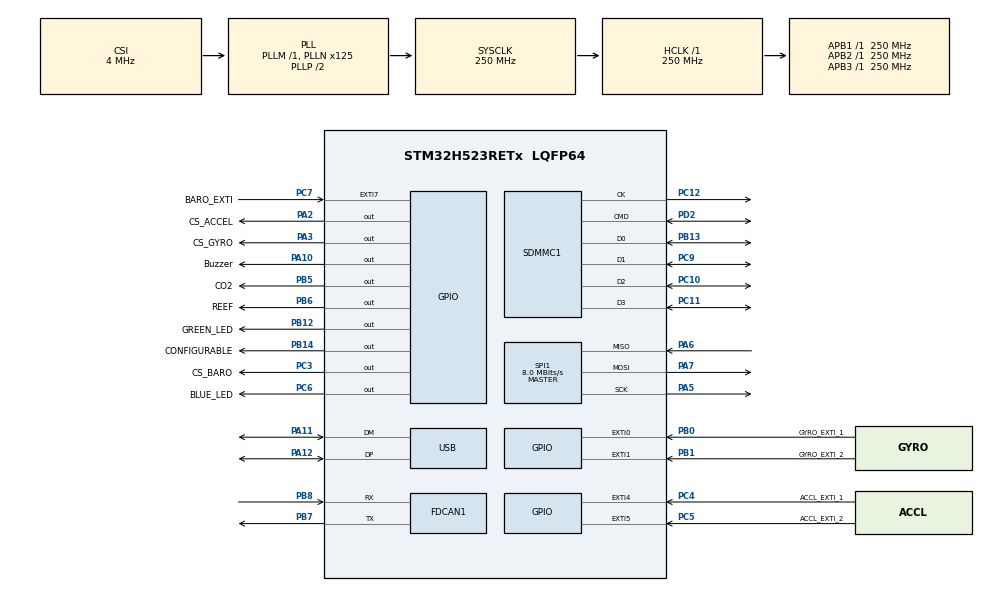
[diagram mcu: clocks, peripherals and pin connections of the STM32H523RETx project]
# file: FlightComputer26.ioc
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BOOTPATH.BootPathName=LEGACY
BOOTPATH.UserSelectedBootPath=LEGACY
CORTEX_M33_NS.AccessPermission-Cortex_Memory_Protection_Unit_Region1_Settings=MPU_REGION_ALL_RW
CORTEX_M33_NS.Attributes1=MPU_ATTRIBUTES_NUMBER1
CORTEX_M33_NS.AttributesIndex-Cortex_Memory_Protection_Unit_Region1_Settings=MPU_ATTRIBUTES_NUMBER1
CORTEX_M33_NS.BaseAddress-Cortex_Memory_Protection_Unit_Region1_Settings=0x20033000
CORTEX_M33_NS.DisableExec-Cortex_Memory_Protection_Unit_Region1_Settings=MPU_INSTRUCTION_ACCESS_DISABLE
CORTEX_M33_NS.Enable-Cortex_Memory_Protection_Unit_Region1_Settings=MPU_REGION_ENABLE
CORTEX_M33_NS.LimitAddress-Cortex_Memory_Protection_Unit_Region1_Settings=0x20044000
CORTEX_M33_NS.Number-Cortex_Memory_Protection_Unit_Region0_OTP_RO_AREAS_Settings=MPU_REGION_NUMBER0
CORTEX_M33_NS.default_mode_Activation=1
CORTEX_M33_NS.userName=CORTEX_M33
DCACHE1.DCACHE_Read_Burst_Type=DCACHE_READ_BURST_INCR
FDCAN1.AutoRetransmission=ENABLE
FDCAN1.CalculateBaudRateNominal=999999
FDCAN1.CalculateTimeBitNominal=1000
FDCAN1.CalculateTimeQuantumNominal=58.82352941176471
FDCAN1.DataPrescaler=2
FDCAN1.DataTimeSeg1=5
FDCAN1.DataTimeSeg2=2
FDCAN1.ExtFiltersNbr=0
FDCAN1.FrameFormat=FDCAN_FRAME_FD_NO_BRS
FDCAN1.NominalPrescaler=10
FDCAN1.NominalTimeSeg1=13
FDCAN1.NominalTimeSeg2=3
FDCAN1.ProtocolException=DISABLE
FDCAN1.StdFiltersNbr=0
HASH.DataType=HASH_BYTE_SWAP
FILEX.FILEX_APPLICATION_THREAD_PRIORITY=5
FILEX.FILEX_APPLICATION_THREAD_STACK_SIZE=8184
FILEX.FORMAT_SD_MEDIA=0
FILEX.FX_APP_MEM_POOL_SIZE=8200
FILEX.FX_DRIVER_SDMMC_INIT=0
FILEX.FX_ENABLE_FAULT_TOLERANT=1
FILEX.FX_SD_INTERFACE=1
FILEX.GENERATE_FILEX_INIT_CODE=true
FILEX.useRTOS=1
GPDMA1.DESTINC_GPDMACH0=DMA_DINC_INCREMENTED
GPDMA1.DIRECTION_GPDMACH1=DMA_MEMORY_TO_PERIPH
GPDMA1.IPHANDLE_GPDMACH0-SIMPLEREQUEST_GPDMACH0=__NULL
GPDMA1.IPHANDLE_GPDMACH1-SIMPLEREQUEST_GPDMACH1=__NULL
GPDMA1.PRIORITY_GPDMACH0=DMA_LOW_PRIORITY_MID_WEIGHT
GPDMA1.PRIORITY_GPDMACH1=DMA_LOW_PRIORITY_MID_WEIGHT
GPDMA1.REQUEST_GPDMACH0=GPDMA1_REQUEST_SPI1_RX
GPDMA1.REQUEST_GPDMACH1=GPDMA1_REQUEST_SPI1_TX
GPDMA1.SRCINC_GPDMACH1=DMA_SINC_INCREMENTED
GPDMA1.TRANSFERALLOCATEDPORTDEST_GPDMACH0=DMA_DEST_ALLOCATED_PORT1
GPDMA1.TRANSFERALLOCATEDPORTSRC_GPDMACH1=DMA_SRC_ALLOCATED_PORT1
Mcu.Family=STM32H5
Mcu.Name=STM32H523RETx
Mcu.Package=LQFP64
NVIC.EXTI0_IRQn=true\:0\:0\:false\:false\:true\:false\:true\:true\:true
NVIC.EXTI4_IRQn=true\:0\:0\:false\:false\:true\:false\:true\:true\:true
NVIC.EXTI7_IRQn=true\:0\:0\:false\:false\:true\:false\:true\:true\:true
NVIC.FDCAN1_IT0_IRQn=true\:0\:0\:true\:false\:true\:false\:true\:true\:true
NVIC.FDCAN1_IT1_IRQn=true\:0\:0\:true\:false\:true\:false\:true\:true\:true
NVIC.GPDMA1_Channel0_IRQn=true\:0\:0\:false\:false\:true\:false\:false\:true\:true
NVIC.GPDMA1_Channel1_IRQn=true\:0\:0\:false\:false\:true\:true\:false\:true\:true
NVIC.PriorityGroup=NVIC_PRIORITYGROUP_4
NVIC.SDMMC1_IRQn=true\:0\:0\:false\:false\:true\:false\:true\:true\:true
NVIC.SPI1_IRQn=true\:0\:0\:false\:false\:true\:false\:true\:true\:true
NVIC.TIM6_IRQn=true\:15\:0\:false\:false\:true\:false\:false\:true\:true
NVIC.TimeBase=TIM6_IRQn
NVIC.TimeBaseIP=TIM6
NVIC.USB_DRD_FS_IRQn=true\:5\:0\:true\:false\:true\:false\:true\:true\:true
PA10.GPIO_Label=Buzzer
PA10.Signal=GPIO_Output
PA11.Mode=Device
PA11.Signal=USB_DM
PA12.Mode=Device
PA12.Signal=USB_DP
PA13(JTMS/SWDIO).Mode=Serial_Wire
PA13(JTMS/SWDIO).Signal=DEBUG_JTMS-SWDIO
PA14(JTCK/SWCLK).Mode=Serial_Wire
PA14(JTCK/SWCLK).Signal=DEBUG_JTCK-SWCLK
PA2.GPIO_Label=CS_ACCEL
PA2.PinState=GPIO_PIN_SET
PA2.Signal=GPIO_Output
PA3.GPIO_Label=CS_GYRO
PA3.PinState=GPIO_PIN_SET
PA3.Signal=GPIO_Output
PA5.Mode=Full_Duplex_Master
PA5.Signal=SPI1_SCK
PA6.Mode=Full_Duplex_Master
PA6.Signal=SPI1_MISO
PA7.Mode=Full_Duplex_Master
PA7.Signal=SPI1_MOSI
PB0.GPIO_Label=GYRO_EXTI_1
PB0.Signal=GPXTI0
PB1.GPIO_Label=GYRO_EXTI_2
PB1.Signal=GPXTI1
PB12.GPIO_Label=GREEN_LED
PB12.Signal=GPIO_Output
PB13.Mode=SD_4_bits_Wide_bus
PB13.Signal=SDMMC1_D0
PB14.GPIO_Label=CONFIGURABLE
PB14.Signal=GPIO_Output
PB5.GPIO_Label=CO2
PB5.Signal=GPIO_Output
PB6.GPIO_Label=REEF
PB6.Signal=GPIO_Output
PB7.Mode=FDCAN_Activate
PB7.Signal=FDCAN1_TX
PB8.Mode=FDCAN_Activate
PB8.Signal=FDCAN1_RX
PC10.Mode=SD_4_bits_Wide_bus
PC10.Signal=SDMMC1_D2
PC11.Mode=SD_4_bits_Wide_bus
PC11.Signal=SDMMC1_D3
PC12.Mode=SD_4_bits_Wide_bus
PC12.Signal=SDMMC1_CK
PC14-OSC32_IN(OSC32_IN).Mode=LSE-External-Oscillator
PC14-OSC32_IN(OSC32_IN).Signal=RCC_OSC32_IN
PC15-OSC32_OUT(OSC32_OUT).Mode=LSE-External-Oscillator
PC15-OSC32_OUT(OSC32_OUT).Signal=RCC_OSC32_OUT
PC3.GPIO_Label=CS_BARO
PC3.PinState=GPIO_PIN_SET
PC3.Signal=GPIO_Output
PC4.GPIO_Label=ACCL_EXTI_1
PC4.Signal=GPXTI4
PC5.GPIO_Label=ACCL_EXTI_2
PC5.Signal=GPXTI5
PC6.GPIO_Label=BLUE_LED
PC6.Signal=GPIO_Output
PC7.GPIO_Label=BARO_EXTI
PC7.Signal=GPXTI7
PC9.Mode=SD_4_bits_Wide_bus
PC9.Signal=SDMMC1_D1
PD2.Mode=SD_4_bits_Wide_bus
PD2.Signal=SDMMC1_CMD
PH0-OSC_IN(PH0).Mode=HSE-External-Oscillator
PH0-OSC_IN(PH0).Signal=RCC_OSC_IN
PH1-OSC_OUT(PH1).Mode=HSE-External-Oscillator
PH1-OSC_OUT(PH1).Signal=RCC_OSC_OUT
ProjectManager.HeapSize=0x200
ProjectManager.StackSize=0x400
ProjectManager.TargetToolchain=CMake
RCC.ADCFreq_Value=250000000
RCC.AHBFreq_Value=250000000
RCC.APB1Freq_Value=250000000
RCC.APB1TimFreq_Value=250000000
RCC.APB2Freq_Value=250000000
RCC.APB2TimFreq_Value=250000000
RCC.APB3Freq_Value=250000000
RCC.CSI_VALUE=4000000
RCC.CortexFreq_Value=250000000
RCC.EPOD_VALUE=4000000
RCC.FDCANClockSelection=RCC_FDCANCLKSOURCE_PLL2Q
RCC.HCLKFreq_Value=250000000
RCC.HSE_VALUE=8000000
RCC.HSI48_VALUE=48000000
RCC.HSI_VALUE=64000000
RCC.LSIRC_VALUE=32000
RCC.PLL1Q=20
RCC.PLL2FRACN=0
RCC.PLL2N=85
RCC.PLL3FRACN=0
RCC.PLLFRACN=0
RCC.PLLN=125
RCC.SPI1CLockSelection=RCC_SPI1CLKSOURCE_CLKP
RCC.SYSCLKFreq_VALUE=250000000
RCC.SYSCLKSource=RCC_SYSCLKSOURCE_PLLCLK
RCC.USBFreq_Value=48000000
RCC.VCOOutputFreq_Value=500000000
SDMMC1.HardwareFlowControl=SDMMC_HARDWARE_FLOW_CONTROL_ENABLE
SDMMC1.TransceiverPresent=SDMMC_TRANSCEIVER_NOT_PRESENT
SPI1.BaudRatePrescaler=SPI_BAUDRATEPRESCALER_4
SPI1.CalculateBaudRate=8.0 MBits/s
SPI1.DataSize=SPI_DATASIZE_8BIT
SPI1.Direction=SPI_DIRECTION_2LINES
SPI1.Mode=SPI_MODE_MASTER
SPI1.VirtualType=VM_MASTER
THREADX.AZRTOS_APP_MEM_ALLOCATION_METHOD=1
THREADX.THREADX_MEM_POOL_VAR_NAME=tx_task_stacks
THREADX.TX_APP_GENERATE_INIT_CODE=true
THREADX.TX_APP_MEM_POOL_SIZE=94208
THREADX.TX_DISABLE_NOTIFY_CALLBACKS=0
THREADX.TX_TIMER_TICKS_PER_SECOND=1000
USB.VirtualMode=Device_Only
VP_BOOTPATH_VS_BOOTPATH.Mode=BP_Activate
VP_CORTEX_M33_NS_VS_Hclk.Mode=Hclk_Mode
VP_DCACHE1_VS_DCACHE.Mode=DCACHE_Activate
VP_FILEX_VS_FileOoSystemJjFileXJjCore.Mode=FileX_Core
VP_FILEX_VS_SDOointerface.Mode=SD_interface
VP_GPDMA1_VS_GPDMACH0.Mode=SIMPLEREQUEST_GPDMACH0
VP_GPDMA1_VS_GPDMACH1.Mode=SIMPLEREQUEST_GPDMACH1
VP_ICACHE_VS_ICACHE.Mode=DefaultMode
VP_MEMORYMAP_VS_MEMORYMAP.Mode=CurAppReg
VP_PWR_VS_LPOM.Mode=PowerOptimisation
VP_PWR_VS_SECSignals.Mode=Security/Privilege
VP_SYS_VS_tim6.Mode=TIM6
VP_THREADX_VS_RTOSJjThreadXJjCoreJjDefault.Mode=Core_Default
board=custom

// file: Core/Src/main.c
#include "fc_recovery_owner.h"
#include "board_commissioning.h"
#include "board_recovery_floor.h"
/* USER CODE BEGIN Header */
/**
 ******************************************************************************
 * @file           : main.c
 * @brief          : Main program body
 ******************************************************************************
 * @attention
 *
 * Copyright (c) 2025 STMicroelectronics.
 * All rights reserved.
 *
 * This software is licensed under terms that can be found in the LICENSE file
 * in the root directory of this software component.
 * If no LICENSE file comes with this software, it is provided AS-IS.
 *
 ******************************************************************************
 */
/* USER CODE END Header */
#include "app_threadx.h"
#include "main.h"
#include "persistent_store.h"
#include "board_watchdog.h"
#include "fc_watchdog_recovery.h"

/* USER CODE BEGIN Includes */
#ifdef TELEMETRY_ENABLED
#include "board_crc32.h"
#endif
#include "platform.h"
#ifdef TELEMETRY_ENABLED
#include "av_bay_underglow.h"
#include "flight_buzzer.h"
#endif
#include "flight_state_cache.h"
#include "board_recovery_boot.h"
#include "resilient_storage.h"
#define HAL_SD_Init flight_sd_init
#include "fcapi.h"

#ifdef TEST_SENSORS
  #include "testing.h"
#endif

/* USER CODE END Includes */

/* USER CODE BEGIN PD */
void cdc_printf_init(void);
/* USER CODE END PD */

DCACHE_HandleTypeDef hdcache1;

FDCAN_HandleTypeDef hfdcan1;

SD_HandleTypeDef hsd1;

SPI_HandleTypeDef hspi1;
DMA_HandleTypeDef handle_GPDMA1_Channel1;
DMA_HandleTypeDef handle_GPDMA1_Channel0;

PCD_HandleTypeDef hpcd_USB_DRD_FS;

void SystemClock_Config(void);
void PeriphCommonClock_Config(void);
static void MPU_Config(void);
static void MX_GPIO_Init(void);
static void MX_GPDMA1_Init(void);
static void MX_SPI1_Init(void);
static void MX_FDCAN1_Init(void);
static void MX_SDMMC1_SD_Init(void);
static void MX_USB_PCD_Init(void);
static void MX_ICACHE_Init(void);
static void MX_DCACHE1_Init(void);

int main(void)
{

  /* MCU Configuration--------------------------------------------------------*/

  /* MPU Configuration--------------------------------------------------------*/
  MPU_Config();

  /* Reset of all peripherals, Initializes the Flash interface and the Systick. */
  HAL_Init();

  /* Configure the system clock */
  SystemClock_Config();

  /* Configure the peripherals common clocks */
  PeriphCommonClock_Config();

  /* USER CODE BEGIN SysInit */
#ifdef TELEMETRY_ENABLED
  /* Before any SEDSnet router exists: frame CRCs on the CRC unit once it
   * passes its self-test, otherwise SEDSnet keeps its software CRC. */
  (void)board_crc32_install();
#endif
  /* USER CODE END SysInit */

  /* Initialize all configured peripherals */
  MX_GPIO_Init();
  MX_GPDMA1_Init();
  MX_SPI1_Init();
  MX_FDCAN1_Init();
  MX_SDMMC1_SD_Init();
  MX_USB_PCD_Init();
  MX_ICACHE_Init();
  MX_DCACHE1_Init();
  /* USER CODE BEGIN 2 */

  /* Solid blue means peripheral initialization completed and ThreadX is
   * starting. The telemetry task clears it once CAN and SEDSNet are ready. */
  led_off(LED1_PORT, LED1_PIN);
  led_on(LED2_PORT, LED2_PIN);
  /* Replace the temporary startup indication with the persisted LaunchCore
   * state before ThreadX and network-variable synchronization begin. */
  (void)persistent_store_boot_begin();
  /* Establish recovery identity before cached state restore and control tasks. */
  (void)board_recovery_boot_generation();
  (void)board_recovery_floor_prime_boot(); /* Cached failure stays queryable/inhibited. */
  board_commissioning_probe_boot();
  if(board_commissioning_pending())fc_recovery_restore_commissioning_hold();
#ifdef TELEMETRY_ENABLED
  av_bay_underglow_restore();
  flight_buzzer_restore();
#endif
  flight_state_cache_restore();

  co2_low();
  reef_low();

#ifdef TEST_SENSORS
  test_sensors_sync();
#endif

  // Buzzer - uncomment if needed

  // HAL_GPIO_WritePin(GPIOA, GPIO_PIN_10, GPIO_PIN_SET);
  // HAL_Delay(1000);
  // HAL_GPIO_WritePin(GPIOA, GPIO_PIN_10, GPIO_PIN_RESET);

  /* USER CODE END 2 */

  board_watchdog_start();
  fc_watchdog_recovery_boot(g_watchdog_reset_flags);
  MX_ThreadX_Init();

  /* We should never get here as control is now taken by the scheduler */

  /* Infinite loop */
  while (1) {

  }
}

void SystemClock_Config(void)
{
  RCC_OscInitTypeDef RCC_OscInitStruct = {0};
  RCC_ClkInitTypeDef RCC_ClkInitStruct = {0};

  /** Configure the main internal regulator output voltage
  */
  __HAL_PWR_VOLTAGESCALING_CONFIG(PWR_REGULATOR_VOLTAGE_SCALE0);

  while(!__HAL_PWR_GET_FLAG(PWR_FLAG_VOSRDY)) {}

  /** Initializes the RCC Oscillators according to the specified parameters
  * in the RCC_OscInitTypeDef structure.
  */
  RCC_OscInitStruct.OscillatorType = RCC_OSCILLATORTYPE_HSI48|RCC_OSCILLATORTYPE_HSI
                              |RCC_OSCILLATORTYPE_CSI;
  RCC_OscInitStruct.HSIState = RCC_HSI_ON;
  RCC_OscInitStruct.HSIDiv = RCC_HSI_DIV2;
  RCC_OscInitStruct.HSICalibrationValue = RCC_HSICALIBRATION_DEFAULT;
  RCC_OscInitStruct.HSI48State = RCC_HSI48_ON;
  RCC_OscInitStruct.CSIState = RCC_CSI_ON;
  RCC_OscInitStruct.CSICalibrationValue = RCC_CSICALIBRATION_DEFAULT;
  RCC_OscInitStruct.PLL.PLLState = RCC_PLL_ON;
  RCC_OscInitStruct.PLL.PLLSource = RCC_PLL1_SOURCE_CSI;
  RCC_OscInitStruct.PLL.PLLM = 1;
  RCC_OscInitStruct.PLL.PLLN = 125;
  RCC_OscInitStruct.PLL.PLLP = 2;
  RCC_OscInitStruct.PLL.PLLQ = 20;
  RCC_OscInitStruct.PLL.PLLR = 2;
  RCC_OscInitStruct.PLL.PLLRGE = RCC_PLL1_VCIRANGE_2;
  RCC_OscInitStruct.PLL.PLLVCOSEL = RCC_PLL1_VCORANGE_WIDE;
  RCC_OscInitStruct.PLL.PLLFRACN = 0;
  if (HAL_RCC_OscConfig(&RCC_OscInitStruct) != HAL_OK)
  {
    Error_Handler();
  }

  /** Initializes the CPU, AHB and APB buses clocks
  */
  RCC_ClkInitStruct.ClockType = RCC_CLOCKTYPE_HCLK|RCC_CLOCKTYPE_SYSCLK
                              |RCC_CLOCKTYPE_PCLK1|RCC_CLOCKTYPE_PCLK2
                              |RCC_CLOCKTYPE_PCLK3;
  RCC_ClkInitStruct.SYSCLKSource = RCC_SYSCLKSOURCE_PLLCLK;
  RCC_ClkInitStruct.AHBCLKDivider = RCC_SYSCLK_DIV1;
  RCC_ClkInitStruct.APB1CLKDivider = RCC_HCLK_DIV1;
  RCC_ClkInitStruct.APB2CLKDivider = RCC_HCLK_DIV1;
  RCC_ClkInitStruct.APB3CLKDivider = RCC_HCLK_DIV1;

  if (HAL_RCC_ClockConfig(&RCC_ClkInitStruct, FLASH_LATENCY_5) != HAL_OK)
  {
    Error_Handler();
  }

  /** Configure the programming delay
  */
  __HAL_FLASH_SET_PROGRAM_DELAY(FLASH_PROGRAMMING_DELAY_2);
}

void PeriphCommonClock_Config(void)
{
  RCC_PeriphCLKInitTypeDef PeriphClkInitStruct = {0};

  /** Initializes the peripherals clock
  */
  PeriphClkInitStruct.PeriphClockSelection = RCC_PERIPHCLK_CKPER;
  PeriphClkInitStruct.CkperClockSelection = RCC_CLKPSOURCE_HSI;
  if (HAL_RCCEx_PeriphCLKConfig(&PeriphClkInitStruct) != HAL_OK)
  {
    Error_Handler();
  }
}

static void MX_DCACHE1_Init(void)
{

  hdcache1.Instance = DCACHE1;
  hdcache1.Init.ReadBurstType = DCACHE_READ_BURST_INCR;
  if (HAL_DCACHE_Init(&hdcache1) != HAL_OK)
  {
    Error_Handler();
  }

}

static void MX_FDCAN1_Init(void)
{

  hfdcan1.Instance = FDCAN1;
  hfdcan1.Init.ClockDivider = FDCAN_CLOCK_DIV1;
  hfdcan1.Init.FrameFormat = FDCAN_FRAME_FD_NO_BRS;
  hfdcan1.Init.Mode = FDCAN_MODE_NORMAL;
  /* FDCAN retries physical arbitration/ACK failures; SEDSNet supplies
   * end-to-end reliability without blocking this non-blocking TX path. */
  hfdcan1.Init.AutoRetransmission = ENABLE;
  hfdcan1.Init.TransmitPause = DISABLE;
  hfdcan1.Init.ProtocolException = DISABLE;
  hfdcan1.Init.NominalPrescaler = 10;
  hfdcan1.Init.NominalSyncJumpWidth = 1;
  hfdcan1.Init.NominalTimeSeg1 = 13;
  hfdcan1.Init.NominalTimeSeg2 = 3;
  hfdcan1.Init.DataPrescaler = 2;
  hfdcan1.Init.DataSyncJumpWidth = 1;
  hfdcan1.Init.DataTimeSeg1 = 5;
  hfdcan1.Init.DataTimeSeg2 = 2;
  hfdcan1.Init.StdFiltersNbr = 0;
  hfdcan1.Init.ExtFiltersNbr = 0;
  hfdcan1.Init.TxFifoQueueMode = FDCAN_TX_FIFO_OPERATION;
  if (HAL_FDCAN_Init(&hfdcan1) != HAL_OK)
  {
    Error_Handler();
  }

}

static void MX_GPDMA1_Init(void)
{

  /* Peripheral clock enable */
  __HAL_RCC_GPDMA1_CLK_ENABLE();

  /* GPDMA1 interrupt Init */
    HAL_NVIC_SetPriority(GPDMA1_Channel0_IRQn, 0, 0);
    HAL_NVIC_EnableIRQ(GPDMA1_Channel0_IRQn);
    HAL_NVIC_SetPriority(GPDMA1_Channel1_IRQn, 0, 0);
    HAL_NVIC_EnableIRQ(GPDMA1_Channel1_IRQn);

}

static void MX_ICACHE_Init(void)
{

  /** Enable instruction cache (default 2-ways set associative cache)
  */
  if (HAL_ICACHE_Enable() != HAL_OK)
  {
    Error_Handler();
  }

}

static void MX_SDMMC1_SD_Init(void)
{

  hsd1.Instance = SDMMC1;
  hsd1.Init.ClockEdge = SDMMC_CLOCK_EDGE_RISING;
  hsd1.Init.ClockPowerSave = SDMMC_CLOCK_POWER_SAVE_DISABLE;
  hsd1.Init.BusWide = SDMMC_BUS_WIDE_4B;
  hsd1.Init.HardwareFlowControl = SDMMC_HARDWARE_FLOW_CONTROL_ENABLE;
  hsd1.Init.ClockDiv = 0;
  if (HAL_SD_Init(&hsd1) != HAL_OK)
  {
    Error_Handler();
  }

}

static void MX_SPI1_Init(void)
{

  /* SPI1 parameter configuration*/
  hspi1.Instance = SPI1;
  hspi1.Init.Mode = SPI_MODE_MASTER;
  hspi1.Init.Direction = SPI_DIRECTION_2LINES;
  hspi1.Init.DataSize = SPI_DATASIZE_8BIT;
  hspi1.Init.CLKPolarity = SPI_POLARITY_LOW;
  hspi1.Init.CLKPhase = SPI_PHASE_1EDGE;
  hspi1.Init.NSS = SPI_NSS_SOFT;
  hspi1.Init.BaudRatePrescaler = SPI_BAUDRATEPRESCALER_4;
  hspi1.Init.FirstBit = SPI_FIRSTBIT_MSB;
  hspi1.Init.TIMode = SPI_TIMODE_DISABLE;
  hspi1.Init.CRCCalculation = SPI_CRCCALCULATION_DISABLE;
  hspi1.Init.CRCPolynomial = 0x7;
  hspi1.Init.NSSPMode = SPI_NSS_PULSE_ENABLE;
  hspi1.Init.NSSPolarity = SPI_NSS_POLARITY_LOW;
  hspi1.Init.FifoThreshold = SPI_FIFO_THRESHOLD_01DATA;
  hspi1.Init.MasterSSIdleness = SPI_MASTER_SS_IDLENESS_00CYCLE;
  hspi1.Init.MasterInterDataIdleness = SPI_MASTER_INTERDATA_IDLENESS_00CYCLE;
  hspi1.Init.MasterReceiverAutoSusp = SPI_MASTER_RX_AUTOSUSP_DISABLE;
  hspi1.Init.MasterKeepIOState = SPI_MASTER_KEEP_IO_STATE_DISABLE;
  hspi1.Init.IOSwap = SPI_IO_SWAP_DISABLE;
  hspi1.Init.ReadyMasterManagement = SPI_RDY_MASTER_MANAGEMENT_INTERNALLY;
  hspi1.Init.ReadyPolarity = SPI_RDY_POLARITY_HIGH;
  if (HAL_SPI_Init(&hspi1) != HAL_OK)
  {
    Error_Handler();
  }

}

static void MX_USB_PCD_Init(void)
{

  /* USER CODE BEGIN USB_Init 0 */

  /* USB is a bench-only transport. CubeMX preserves this user block, so a
   * production build retains the pin configuration while discarding the PCD
   * driver and its RAM/flash cost. */
#ifndef USB_ENUMERATES
  return;
#endif

  /* USER CODE END USB_Init 0 */

  hpcd_USB_DRD_FS.Instance = USB_DRD_FS;
  hpcd_USB_DRD_FS.Init.dev_endpoints = 8;
  hpcd_USB_DRD_FS.Init.speed = USBD_FS_SPEED;
  hpcd_USB_DRD_FS.Init.phy_itface = PCD_PHY_EMBEDDED;
  hpcd_USB_DRD_FS.Init.Sof_enable = DISABLE;
  hpcd_USB_DRD_FS.Init.low_power_enable = DISABLE;
  hpcd_USB_DRD_FS.Init.lpm_enable = DISABLE;
  hpcd_USB_DRD_FS.Init.battery_charging_enable = DISABLE;
  hpcd_USB_DRD_FS.Init.vbus_sensing_enable = DISABLE;
  hpcd_USB_DRD_FS.Init.bulk_doublebuffer_enable = DISABLE;
  hpcd_USB_DRD_FS.Init.iso_singlebuffer_enable = DISABLE;
  if (HAL_PCD_Init(&hpcd_USB_DRD_FS) != HAL_OK)
  {
    Error_Handler();
  }

}

static void MX_GPIO_Init(void)
{
  GPIO_InitTypeDef GPIO_InitStruct = {0};

  /* GPIO Ports Clock Enable */
  __HAL_RCC_GPIOC_CLK_ENABLE();
  __HAL_RCC_GPIOH_CLK_ENABLE();
  __HAL_RCC_GPIOA_CLK_ENABLE();
  __HAL_RCC_GPIOB_CLK_ENABLE();
  __HAL_RCC_GPIOD_CLK_ENABLE();

  /*Configure GPIO pin Output Level */
  HAL_GPIO_WritePin(CS_BARO_GPIO_Port, CS_BARO_Pin, GPIO_PIN_SET);

  /*Configure GPIO pin Output Level */
  HAL_GPIO_WritePin(GPIOA, CS_ACCEL_Pin|CS_GYRO_Pin, GPIO_PIN_SET);

  /*Configure GPIO pin Output Level */
  HAL_GPIO_WritePin(GPIOB, GREEN_LED_Pin|CONFIGURABLE_Pin|CO2_Pin|REEF_Pin, GPIO_PIN_RESET);

  /*Configure GPIO pin Output Level */
  HAL_GPIO_WritePin(BLUE_LED_GPIO_Port, BLUE_LED_Pin, GPIO_PIN_RESET);

  /*Configure GPIO pin Output Level */
  HAL_GPIO_WritePin(Buzzer_GPIO_Port, Buzzer_Pin, GPIO_PIN_RESET);

  /*Configure GPIO pins : CS_BARO_Pin BLUE_LED_Pin */
  GPIO_InitStruct.Pin = CS_BARO_Pin|BLUE_LED_Pin;
  GPIO_InitStruct.Mode = GPIO_MODE_OUTPUT_PP;
  GPIO_InitStruct.Pull = GPIO_NOPULL;
  GPIO_InitStruct.Speed = GPIO_SPEED_FREQ_LOW;
  HAL_GPIO_Init(GPIOC, &GPIO_InitStruct);

  /*Configure GPIO pins : CS_ACCEL_Pin CS_GYRO_Pin Buzzer_Pin */
  GPIO_InitStruct.Pin = CS_ACCEL_Pin|CS_GYRO_Pin|Buzzer_Pin;
  GPIO_InitStruct.Mode = GPIO_MODE_OUTPUT_PP;
  GPIO_InitStruct.Pull = GPIO_NOPULL;
  GPIO_InitStruct.Speed = GPIO_SPEED_FREQ_LOW;
  HAL_GPIO_Init(GPIOA, &GPIO_InitStruct);

  /*Configure GPIO pins : ACCL_EXTI_1_Pin ACCL_EXTI_2_Pin BARO_EXTI_Pin */
  GPIO_InitStruct.Pin = ACCL_EXTI_1_Pin|ACCL_EXTI_2_Pin|BARO_EXTI_Pin;
  GPIO_InitStruct.Mode = GPIO_MODE_IT_RISING;
  GPIO_InitStruct.Pull = GPIO_NOPULL;
  HAL_GPIO_Init(GPIOC, &GPIO_InitStruct);

  /*Configure GPIO pins : GYRO_EXTI_1_Pin GYRO_EXTI_2_Pin */
  GPIO_InitStruct.Pin = GYRO_EXTI_1_Pin|GYRO_EXTI_2_Pin;
  GPIO_InitStruct.Mode = GPIO_MODE_IT_RISING;
  GPIO_InitStruct.Pull = GPIO_NOPULL;
  HAL_GPIO_Init(GPIOB, &GPIO_InitStruct);

  /*Configure GPIO pins : GREEN_LED_Pin CONFIGURABLE_Pin CO2_Pin REEF_Pin */
  GPIO_InitStruct.Pin = GREEN_LED_Pin|CONFIGURABLE_Pin|CO2_Pin|REEF_Pin;
  GPIO_InitStruct.Mode = GPIO_MODE_OUTPUT_PP;
  GPIO_InitStruct.Pull = GPIO_NOPULL;
  GPIO_InitStruct.Speed = GPIO_SPEED_FREQ_LOW;
  HAL_GPIO_Init(GPIOB, &GPIO_InitStruct);

  /* EXTI interrupt init*/
  HAL_NVIC_SetPriority(EXTI0_IRQn, 0, 0);
  HAL_NVIC_EnableIRQ(EXTI0_IRQn);

  HAL_NVIC_SetPriority(EXTI4_IRQn, 0, 0);
  HAL_NVIC_EnableIRQ(EXTI4_IRQn);

  HAL_NVIC_SetPriority(EXTI7_IRQn, 0, 0);
  HAL_NVIC_EnableIRQ(EXTI7_IRQn);

}

 /* MPU Configuration */

void MPU_Config(void)
{
  MPU_Region_InitTypeDef MPU_InitStruct = {0};
  MPU_Attributes_InitTypeDef MPU_AttributesInit = {0};

  /* Disables the MPU */
  HAL_MPU_Disable();

  /** Initializes and configures the Region 0 and the memory to be protected
  */
  MPU_InitStruct.Enable = MPU_REGION_ENABLE;
  MPU_InitStruct.Number = MPU_REGION_NUMBER0;
  MPU_InitStruct.BaseAddress = 0x08FFF000;
  MPU_InitStruct.LimitAddress = 0x08FFFFFF;
  MPU_InitStruct.AttributesIndex = MPU_ATTRIBUTES_NUMBER0;
  MPU_InitStruct.AccessPermission = MPU_REGION_ALL_RO;
  MPU_InitStruct.DisableExec = MPU_INSTRUCTION_ACCESS_DISABLE;
  MPU_InitStruct.IsShareable = MPU_ACCESS_NOT_SHAREABLE;

  HAL_MPU_ConfigRegion(&MPU_InitStruct);

  /** Initializes and configures the Region 1 and the memory to be protected
  */
  MPU_InitStruct.Number = MPU_REGION_NUMBER1;
  MPU_InitStruct.BaseAddress = 0x20033000;
  MPU_InitStruct.LimitAddress = 0x20044000;
  MPU_InitStruct.AttributesIndex = MPU_ATTRIBUTES_NUMBER1;
  MPU_InitStruct.AccessPermission = MPU_REGION_ALL_RW;

  HAL_MPU_ConfigRegion(&MPU_InitStruct);

  /** Initializes and configures the Attribute 0 and the memory to be protected
  */
  MPU_AttributesInit.Number = MPU_ATTRIBUTES_NUMBER0;
  MPU_AttributesInit.Attributes = INNER_OUTER(MPU_NOT_CACHEABLE);

  HAL_MPU_ConfigMemoryAttributes(&MPU_AttributesInit);

  /** Initializes and configures the Attribute 1 and the memory to be protected
  */
  MPU_AttributesInit.Number = MPU_ATTRIBUTES_NUMBER1;

  HAL_MPU_ConfigMemoryAttributes(&MPU_AttributesInit);
#if BOARD_WATCHDOG_ENABLE
  /* Retained records must reach SRAM before reset, rather than remain in a
   * write-back cache. This also orders the action journal before GPIO writes. */
  extern const uint8_t __fc_watchdog_retained_start[], __fc_watchdog_retained_end[];
  MPU_InitStruct.Number = MPU_REGION_NUMBER2;
  MPU_InitStruct.BaseAddress = (uintptr_t)__fc_watchdog_retained_start;
  MPU_InitStruct.LimitAddress = (uintptr_t)__fc_watchdog_retained_end - 1U;
  MPU_InitStruct.AttributesIndex = MPU_ATTRIBUTES_NUMBER0;
  HAL_MPU_ConfigRegion(&MPU_InitStruct);
#endif
  /* Enables the MPU */
  HAL_MPU_Enable(MPU_PRIVILEGED_DEFAULT);

}

void HAL_TIM_PeriodElapsedCallback(TIM_HandleTypeDef *htim)
{
  if (htim->Instance == TIM6)
  {
    HAL_IncTick();
  }
}

void Error_Handler(void)
{
  /* USER CODE BEGIN Error_Handler_Debug */
  /* User can add his own implementation to report the HAL error return state */
  __disable_irq();
  while (1)
  {
    blink(Blue, true, 1);
    blink(Green, false, 1);
  }
  /* USER CODE END Error_Handler_Debug */
}
#ifdef USE_FULL_ASSERT
/**
  * @brief  Reports the name of the source file and the source line number
  *         where the assert_param error has occurred.
  * @param  file: pointer to the source file name
  * @param  line: assert_param error line source number
  * @retval None
  */
void assert_failed(uint8_t *file, uint32_t line)
{
  /* USER CODE BEGIN 6 */
  /* User can add his own implementation to report the file name and line
     number, ex: printf("Wrong parameters value: file %s on line %d\r\n", file,
     line) */
  /* USER CODE END 6 */
}
#endif /* USE_FULL_ASSERT */
